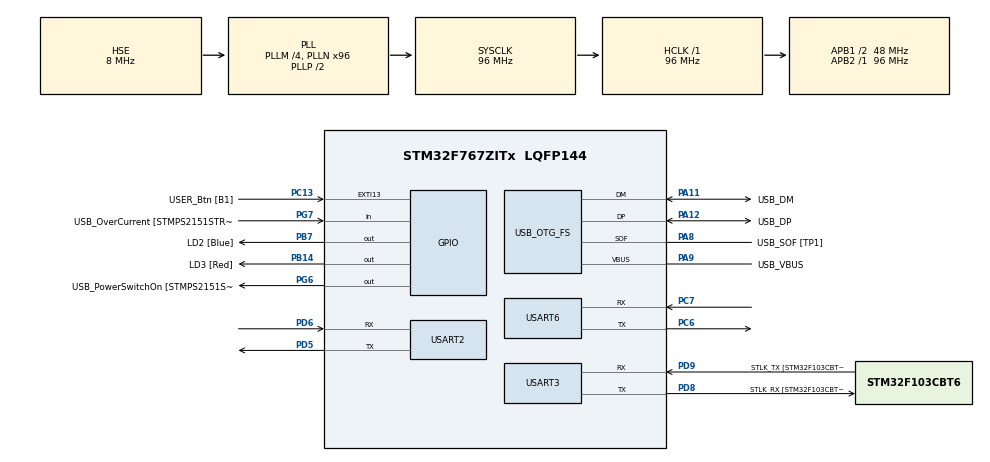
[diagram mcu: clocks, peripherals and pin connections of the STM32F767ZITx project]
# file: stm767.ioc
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FREERTOS.Tasks01=defaultTask,0,128,StartDefaultTask,Default,NULL
FREERTOS.configTOTAL_HEAP_SIZE=30720
Mcu.Family=STM32F7
Mcu.Name=STM32F767ZITx
Mcu.Package=LQFP144
NVIC.PriorityGroup=NVIC_PRIORITYGROUP_4
NVIC.TIM1_UP_TIM10_IRQn=true\:0\:0\:false\:false\:true\:false\:false\:true
NVIC.TimeBase=TIM1_UP_TIM10_IRQn
NVIC.TimeBaseIP=TIM1
NVIC.USART2_IRQn=true\:5\:0\:false\:false\:true\:true\:true\:true
NVIC.USART6_IRQn=true\:5\:0\:false\:false\:true\:true\:true\:true
PA1.GPIO_Label=RMII_REF_CLK [LAN8742A-CZ-TR_REFCLK0]
PA1.Signal=ETH_REF_CLK
PA10.GPIO_Label=USB_ID
PA10.Signal=USB_OTG_FS_ID
PA11.GPIO_Label=USB_DM
PA11.Mode=Device_Only
PA11.Signal=USB_OTG_FS_DM
PA12.GPIO_Label=USB_DP
PA12.Mode=Device_Only
PA12.Signal=USB_OTG_FS_DP
PA13.GPIO_Label=TMS
PA13.Mode=Serial_Wire
PA13.Signal=SYS_JTMS-SWDIO
PA14.GPIO_Label=TCK
PA14.Mode=Serial_Wire
PA14.Signal=SYS_JTCK-SWCLK
PA2.GPIO_Label=RMII_MDIO [LAN8742A-CZ-TR_MDIO]
PA2.Signal=ETH_MDIO
PA7.GPIO_Label=RMII_CRS_DV [LAN8742A-CZ-TR_CRS_DV]
PA7.Signal=ETH_CRS_DV
PA8.GPIO_Label=USB_SOF [TP1]
PA8.Mode=Activate_SOF_FS
PA8.Signal=USB_OTG_FS_SOF
PA9.GPIO_Label=USB_VBUS
PA9.Mode=Activate_VBUS
PA9.Signal=USB_OTG_FS_VBUS
PB13.GPIO_Label=RMII_TXD1 [LAN8742A-CZ-TR_TXD1]
PB13.Signal=ETH_TXD1
PB14.GPIO_Label=LD3 [Red]
PB14.Signal=GPIO_Output
PB3.GPIO_Label=SWO
PB3.Signal=SYS_JTDO-SWO
PB7.GPIO_Label=LD2 [Blue]
PB7.Signal=GPIO_Output
PC1.GPIO_Label=RMII_MDC [LAN8742A-CZ-TR_MDC]
PC1.Signal=ETH_MDC
PC13.GPIO_Label=USER_Btn [B1]
PC13.Signal=GPXTI13
PC14/OSC32_IN.Signal=RCC_OSC32_IN
PC15/OSC32_OUT.Signal=RCC_OSC32_OUT
PC4.GPIO_Label=RMII_RXD0 [LAN8742A-CZ-TR_RXD0]
PC4.Signal=ETH_RXD0
PC5.GPIO_Label=RMII_RXD1 [LAN8742A-CZ-TR_RXD1]
PC5.Signal=ETH_RXD1
PC6.Mode=Asynchronous
PC6.Signal=USART6_TX
PC7.Mode=Asynchronous
PC7.Signal=USART6_RX
PD5.Mode=Asynchronous
PD5.Signal=USART2_TX
PD6.Mode=Asynchronous
PD6.Signal=USART2_RX
PD8.GPIO_Label=STLK_RX [STM32F103CBT6_PA3]
PD8.Mode=Asynchronous
PD8.Signal=USART3_TX
PD9.GPIO_Label=STLK_TX [STM32F103CBT6_PA2]
PD9.Mode=Asynchronous
PD9.Signal=USART3_RX
PG11.GPIO_Label=RMII_TX_EN [LAN8742A-CZ-TR_TXEN]
PG11.Signal=ETH_TX_EN
PG13.GPIO_Label=RMII_TXD0 [LAN8742A-CZ-TR_TXD0]
PG13.Signal=ETH_TXD0
PG6.GPIO_Label=USB_PowerSwitchOn [STMPS2151STR_EN]
PG6.Signal=GPIO_Output
PG7.GPIO_Label=USB_OverCurrent [STMPS2151STR_FAULT]
PG7.Signal=GPIO_Input
PH0/OSC_IN.GPIO_Label=MCO [STM32F103CBT6_PA8]
PH0/OSC_IN.Mode=HSE-External-Oscillator
PH0/OSC_IN.Signal=RCC_OSC_IN
PH1/OSC_OUT.Mode=HSE-External-Oscillator
PH1/OSC_OUT.Signal=RCC_OSC_OUT
ProjectManager.HeapSize=0x200
ProjectManager.StackSize=0x400
ProjectManager.TargetToolchain=EWARM V8
RCC.48MHZClocksFreq_Value=24000000
RCC.AHBFreq_Value=96000000
RCC.APB1CLKDivider=RCC_HCLK_DIV2
RCC.APB1Freq_Value=48000000
RCC.APB1TimFreq_Value=96000000
RCC.APB2Freq_Value=96000000
RCC.APB2TimFreq_Value=96000000
RCC.CortexFreq_Value=96000000
RCC.HCLKFreq_Value=96000000
RCC.HSE_VALUE=8000000
RCC.HSI_VALUE=16000000
RCC.LSE_VALUE=32768
RCC.PLLM=4
RCC.PLLMUL=RCC_PLL_MUL9
RCC.PLLN=96
RCC.PLLQ=4
RCC.PRESCALERUSB=RCC_USBCLKSOURCE_PLL_DIV1_5
RCC.SYSCLKFreq_VALUE=96000000
RCC.SYSCLKSource=RCC_SYSCLKSOURCE_PLLCLK
RCC.SYSCLKSourceVirtual=RCC_SYSCLKSOURCE_PLLCLK
RCC.USBFreq_Value=48000000
RCC.VCOOutputFreq_Value=192000000
USART2.OverSampling=UART_OVERSAMPLING_16
USART2.VirtualMode-Asynchronous=VM_ASYNC
USART3.VirtualMode-Asynchronous=VM_ASYNC
USART6.VirtualMode-Asynchronous=VM_ASYNC
USB_OTG_FS.VirtualMode=Device_Only
VP_FREERTOS_VS_CMSIS_V1.Mode=CMSIS_V1
VP_SYS_VS_tim1.Mode=TIM1
board=NUCLEO-F767ZI

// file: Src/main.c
/* USER CODE BEGIN Header */
/**
  ******************************************************************************
  * @file           : main.c
  * @brief          : Main program body
  ******************************************************************************
  * @attention
  *
  * <h2><center>&copy; Copyright (c) 2019 STMicroelectronics.
  * All rights reserved.</center></h2>
  *
  * This software component is licensed by ST under Ultimate Liberty license
  * SLA0044, the "License"; You may not use this file except in compliance with
  * the License. You may obtain a copy of the License at:
  *                             www.st.com/SLA0044
  *
  ******************************************************************************
  */
/* USER CODE END Header */

#include "main.h"
#include "cmsis_os.h"

#include "uiot_export.h"
#include "uiot_import.h"
#include "uiot_export_dm.h"
#include "shadow_client.h"
#include "uiot_export_shadow.h"
#include "uiot_export_ota.h"

UART_HandleTypeDef huart2;
UART_HandleTypeDef huart3;
UART_HandleTypeDef huart6;

PCD_HandleTypeDef hpcd_USB_OTG_FS;

osThreadId defaultTaskHandle;

void SystemClock_Config(void);
static void MX_GPIO_Init(void);
static void MX_USART3_UART_Init(void);
static void MX_USB_OTG_FS_PCD_Init(void);
static void MX_USART2_UART_Init(void);
static void MX_USART6_UART_Init(void);
void StartDefaultTask(void const * argument);

#ifdef __GNUC__
/* With GCC/RAISONANCE, small printf (option LD Linker->Libraries->Small printf
   set to 'Yes') calls __io_putchar() */
#define PUTCHAR_PROTOTYPE int __io_putchar(int ch)
#else
#define PUTCHAR_PROTOTYPE int fputc(int ch, FILE *f)
#endif /* __GNUC__ */

/* USER CODE BEGIN PFP */
#define UIOT_MY_PRODUCT_SN            "iwfrdgwhmwscqbmv"

#define UIOT_MY_DEVICE_SN             "mosjgqhqqx1aut0a"

#define UIOT_MY_DEVICE_SECRET         "zn9srzorb96kwat7"

#define OTA_BUF_LEN (1024)

/* USER CODE END PFP */

/* USER CODE BEGIN 0 */
static void event_handler(void *pClient, void *handle_context, MQTTEventMsg *msg)
{
    uintptr_t packet_id = 0;
    packet_id = (uintptr_t)msg->msg;

	switch(msg->event_type) {
		case MQTT_EVENT_UNDEF:
			LOG_INFO("undefined event occur.\n");
			break;

		case MQTT_EVENT_DISCONNECT:
			LOG_INFO("MQTT disconnect.\n");
			break;

		case MQTT_EVENT_RECONNECT:
			LOG_INFO("MQTT reconnect.\n");
			break;

		case MQTT_EVENT_SUBSCRIBE_SUCCESS:
			LOG_INFO("subscribe success, packet-id=%u.\n", (unsigned int)packet_id);
			break;

		case MQTT_EVENT_SUBSCRIBE_TIMEOUT:
			LOG_INFO("subscribe wait ack timeout, packet-id=%u.\n", (unsigned int)packet_id);
			break;

		case MQTT_EVENT_SUBSCRIBE_NACK:
			LOG_INFO("subscribe nack, packet-id=%u.\n", (unsigned int)packet_id);
			break;

		case MQTT_EVENT_PUBLISH_SUCCESS:
			LOG_INFO("publish success, packet-id=%u.\n", (unsigned int)packet_id);
			break;

		case MQTT_EVENT_PUBLISH_TIMEOUT:
			LOG_INFO("publish timeout, packet-id=%u.\n", (unsigned int)packet_id);
			break;

		case MQTT_EVENT_PUBLISH_NACK:
			LOG_INFO("publish nack, packet-id=%u.\n", (unsigned int)packet_id);
			break;

		default:
			LOG_INFO("Should NOT arrive here.\n");
			break;
	}
}

int event_post_cb(const char *request_id, const int ret_code){
    LOG_INFO("event_post_cb; request_id: %s; ret_code: %d", request_id, ret_code);
    return SUCCESS_RET;
}

int property_post_cb(const char *request_id, const int ret_code){
    LOG_INFO("property_post_cb; request_id: %s; ret_code: %d", request_id, ret_code);
    return SUCCESS_RET;
}

int command_cb(const char *request_id, const char *identifier, const char *input, char **output){
    LOG_INFO("command_cb; request_id: %s; identifier: %s; input: %s", request_id, identifier, input);
    *output = (char *)HAL_Malloc(100);
    HAL_Snprintf(*output, 1000, "{\"result\":%d}", 1);
    return SUCCESS_RET;
}

int property_set_cb(const char *request_id, const char *property){
    LOG_INFO("property_set_cb; request_id: %s; property: %s", request_id, property);
    return SUCCESS_RET;
}

static int _setup_connect_init_params(MQTTInitParams* initParams)
{
	initParams->device_sn = UIOT_MY_DEVICE_SN;
	initParams->product_sn = UIOT_MY_PRODUCT_SN;
	initParams->device_secret = UIOT_MY_DEVICE_SECRET;
	initParams->command_timeout = UIOT_MQTT_COMMAND_TIMEOUT;
	initParams->keep_alive_interval = UIOT_MQTT_KEEP_ALIVE_INTERNAL;
	initParams->auto_connect_enable = 1;
    initParams->event_handler.h_fp = event_handler;

    return SUCCESS_RET;
}

static void on_message_callback(void *pClient, MQTTMessage *message, void *userData) {
	if (message == NULL) {
		return;
	}

	printf("Receive Message With topicName:%.*s, payload:%.*s\n",
		  (int) message->topic_len, message->topic, (int) message->payload_len, (char *) message->payload);
}

#define MAX_SIZE_OF_TOPIC_CONTENT     100
static int sg_count = 0;

static int _publish_msg(void *client)
{
    char topicName[128] = {0};
    HAL_Snprintf(topicName, 128, "/%s/%s/%s", UIOT_MY_PRODUCT_SN, UIOT_MY_DEVICE_SN, "set");

    PublishParams pub_params = DEFAULT_PUB_PARAMS;
    pub_params.qos = QOS1;

    char topic_content[MAX_SIZE_OF_TOPIC_CONTENT + 1] = {0};

	int size = HAL_Snprintf(topic_content, sizeof(topic_content), "{\"test\": \"%d\"}", sg_count++);
	if (size < 0 || size > sizeof(topic_content) - 1)
	{
		printf("payload content length not enough! content size:%d  buf size:%d", size, (int)sizeof(topic_content));
		return -3;
	}

	pub_params.payload = topic_content;
	pub_params.payload_len = strlen(topic_content);

    return IOT_MQTT_Publish(client, topicName, &pub_params);
}

static int _register_subscribe_topics(void *client)
{
    static char topic_name[128] = {0};
    int size = HAL_Snprintf(topic_name, sizeof(topic_name), "/%s/%s/%s", UIOT_MY_PRODUCT_SN, UIOT_MY_DEVICE_SN, "set");
    if (size < 0 || size > sizeof(topic_name) - 1)
    {
        printf("topic content length not enough! content size:%d  buf size:%d", size, (int)sizeof(topic_name));
        return FAILURE_RET;
    }
    SubscribeParams sub_params = DEFAULT_SUB_PARAMS;
    sub_params.on_message_handler = on_message_callback;
    return IOT_MQTT_Subscribe(client, topic_name, &sub_params);
}

//当设备直接按照desired字段中的属性值更新时不需要上报
void RegCallback_update(void *pClient, RequestParams *pParams, char *pJsonValueBuffer, uint32_t valueLength, DeviceProperty *pProperty)
{
    LOG_DEBUG("key:%s val:%s\n",pProperty->key, pJsonValueBuffer);
    IOT_Shadow_Direct_Update_Value(pJsonValueBuffer, pProperty);
    return;
}

//当设备没有完全按照desired字段中的属性更新时,需要将当前真实值上报
void RegCallback_hold(void *pClient, RequestParams *pParams, char *pJsonValueBuffer, uint32_t valueLength, DeviceProperty *pProperty)
{
    LOG_DEBUG("key:%s val:%s\n",pProperty->key, pJsonValueBuffer);
    int num = 10;
    pProperty->data = &num;
    IOT_Shadow_Request_Add_Delta_Property(pClient, pParams,pProperty);
    return;
}

static void _update_ack_cb(void *pClient, Method method, RequestAck requestAck, const char *pReceivedJsonDocument, void *pUserdata)
{
	LOG_DEBUG("requestAck=%d\n", requestAck);

    if (NULL != pReceivedJsonDocument) {
        LOG_DEBUG("Received Json Document=%s\n", pReceivedJsonDocument);
    } else {
        LOG_DEBUG("Received Json Document is NULL\n");
    }

    *((RequestAck *)pUserdata) = requestAck;
    return;
}

extern sRingbuff g_ring_tcp_buff[3];
extern int last_tcp_link;

/* USER CODE END PFP */
/* Private user code ---------------------------------------------------------*/
/* USER CODE BEGIN 0 */
void esp8266_test(void *pvParameters)
{
    int ret;
    int ota_over = 0;
    bool upgrade_fetch_success = true;
    char msg_version[33];
    char buf_ota[OTA_BUF_LEN];

    MQTTInitParams init_params = DEFAULT_MQTT_INIT_PARAMS;
    ret = _setup_connect_init_params(&init_params);
	if (ret != SUCCESS_RET) {
	}

    void *client = IOT_MQTT_Construct(&init_params);
    if (client != NULL) {
        printf("Cloud Device Construct Success");
    } else {
        printf("Cloud Device Construct Failed");
    }
    IOT_MQTT_Yield(client, 50);

    _register_subscribe_topics(client);

	IOT_MQTT_Yield(client, 200);

    void *h_dm = IOT_DM_Init(UIOT_MY_PRODUCT_SN, UIOT_MY_DEVICE_SN, client);
    if (NULL == h_dm) {
        printf("initialize device model failed");
    }
    IOT_DM_Yield(h_dm, 50);

    IOT_DM_RegisterCallback(EVENT_POST, h_dm, event_post_cb);
    IOT_DM_Yield(h_dm, 100);
    IOT_DM_RegisterCallback(COMMAND , h_dm, command_cb);
    IOT_DM_Yield(h_dm, 100);
    IOT_DM_RegisterCallback(PROPERTY_POST , h_dm, property_post_cb);
    IOT_DM_Yield(h_dm, 100);
    IOT_DM_RegisterCallback(PROPERTY_SET , h_dm, property_set_cb);
    IOT_DM_Yield(h_dm, 100);

    void *shadow_client = IOT_Shadow_Construct(UIOT_MY_PRODUCT_SN, UIOT_MY_DEVICE_SN, client);
    if(shadow_client == NULL)
    {
        HAL_Printf("IOT_Shadow_Construct fail\n");
    }

    UIoT_Shadow *sg_pshadow = (UIoT_Shadow *)shadow_client;
    bool isConnected = IOT_MQTT_IsConnected(sg_pshadow->mqtt);
    if(isConnected != true)
    {
        HAL_Printf("IOT_MQTT_IsConnected fail\n");
    }

    int time_sec = MAX_WAIT_TIME_SEC;
	RequestAck ack_update = ACK_NONE;

    DeviceProperty *Property1 = (DeviceProperty *)HAL_Malloc(sizeof(DeviceProperty));
    int32_t num1 = 18;
    char str1[6] = "data1";
    Property1->key= str1;
    Property1->data = &num1;
    Property1->type = JINT32;
    ret = IOT_Shadow_Register_Property(sg_pshadow, Property1, RegCallback_hold);
    if(SUCCESS_RET != ret)
    {
        HAL_Printf("Register Property1 fail:%d\n", ret);
    }

    DeviceProperty *Property2 = (DeviceProperty *)HAL_Malloc(sizeof(DeviceProperty));
    float num2 = 20.2;
    char str2[6] = "data2";
    Property2->key= str2;
    Property2->data = &num2;
    Property2->type = JFLOAT;
    ret = IOT_Shadow_Register_Property(sg_pshadow, Property2, RegCallback_update);
    if(SUCCESS_RET != ret)
    {
        HAL_Printf("Register Property2 fail:%d\n", ret);
    }

    DeviceProperty *Property3 = (DeviceProperty *)HAL_Malloc(sizeof(DeviceProperty));
    double num3 = 22.9;
    char str3[6] = "data3";
    Property3->key= str3;
    Property3->data = &num3;
    Property3->type = JDOUBLE;
    ret = IOT_Shadow_Register_Property(sg_pshadow, Property3, RegCallback_update);
    if(SUCCESS_RET != ret)
    {
        HAL_Printf("Register Property3 fail:%d\n", ret);
    }

    DeviceProperty *Property4 = (DeviceProperty *)HAL_Malloc(sizeof(DeviceProperty));
    char num4[5] = "num4";
    char str4[6] = "data4";
    Property4->key= str4;
    Property4->data = num4;
    Property4->type = JSTRING;
    ret = IOT_Shadow_Register_Property(sg_pshadow, Property4, RegCallback_update);
    if(SUCCESS_RET != ret)
    {
        HAL_Printf("Register Property4 fail:%d\n", ret);
    }

    DeviceProperty *Property5 = (DeviceProperty *)HAL_Malloc(sizeof(DeviceProperty));
    bool num5 = false;
    char str5[6] = "data5";
    Property5->key= str5;
    Property5->data = &num5;
    Property5->type = JBOOL;
    ret = IOT_Shadow_Register_Property(sg_pshadow, Property5, RegCallback_update);
    if(SUCCESS_RET != ret)
    {
        HAL_Printf("Register Property5 fail:%d\n", ret);
    }

    DeviceProperty *Property6 = (DeviceProperty *)HAL_Malloc(sizeof(DeviceProperty));
    char num6[20] = "{\"temp\":25}";
    char str6[6] = "data6";
    Property6->key= str6;
    Property6->data = num6;
    Property6->type = JOBJECT;
    ret = IOT_Shadow_Register_Property(sg_pshadow, Property6, RegCallback_update);
    if(SUCCESS_RET != ret)
    {
        HAL_Printf("Register Property6 fail:%d\n", ret);
    }

    int i = 0;
    while(1)
    {
/* mqtt */
        _publish_msg(client);
        IOT_MQTT_Yield(client, 2000);
/* dev model */
        IOT_DM_Property_Report(h_dm, PROPERTY_POST, i * 2, "{\"volume\": {\"Value\":50}}");
        IOT_DM_Yield(h_dm, 2000);
        IOT_DM_TriggerEvent(h_dm, i * 2 + 1, "low_power_alert", "{\"power\": 5}");

        IOT_DM_Yield(h_dm, 2000);
        i++;

/* shadow */
        ret = IOT_Shadow_Get_Sync(sg_pshadow, _update_ack_cb, time_sec, &ack_update);
        if(SUCCESS_RET != ret)
        {
            HAL_Printf("Get Sync fail:%d\n", ret);
        }

    	while (ACK_NONE == ack_update) {
            IOT_Shadow_Yield(sg_pshadow, MAX_WAIT_TIME_MS);
        }

        /* update */
        ack_update = ACK_NONE;
        ret = IOT_Shadow_Update(sg_pshadow, _update_ack_cb, time_sec, &ack_update, 6, Property1, Property2, Property3, Property4, Property5, Property6);
        if(SUCCESS_RET != ret)
        {
            HAL_Printf("Update Property1 Property2 Property3 Property4 Property5 Property6 fail:%d\n", ret);
        }

    	while (ACK_NONE == ack_update) {
            IOT_Shadow_Yield(sg_pshadow, MAX_WAIT_TIME_MS);
        }

        ack_update = ACK_NONE;
        ret = IOT_Shadow_Get_Sync(sg_pshadow, _update_ack_cb, time_sec, &ack_update);

    	while (ACK_NONE == ack_update) {
            IOT_Shadow_Yield(sg_pshadow, MAX_WAIT_TIME_MS);
        }

        /* update */
        num1 = 123;
        Property1->data = &num1;

        char num9[5] = "num9";
        Property4->data = num9;

        ack_update = ACK_NONE;
        ret = IOT_Shadow_Update(sg_pshadow, _update_ack_cb, time_sec, &ack_update, 2, Property1, Property4);
        if(SUCCESS_RET != ret)
        {
            HAL_Printf("Update Property1 Property4 fail:%d\n", ret);
        }

    	while (ACK_NONE == ack_update) {
            IOT_Shadow_Yield(sg_pshadow, MAX_WAIT_TIME_MS);
        }

        /* delete */
        ack_update = ACK_NONE;
        ret = IOT_Shadow_Delete(sg_pshadow, _update_ack_cb, time_sec, &ack_update, 2, Property1, Property2);
        if(SUCCESS_RET != ret)
        {
            HAL_Printf("Delete Property1 Property2 fail:%d\n", ret);
        }

    	while (ACK_NONE == ack_update) {
            IOT_Shadow_Yield(sg_pshadow, MAX_WAIT_TIME_MS);
        }

        ack_update = ACK_NONE;
        ret = IOT_Shadow_Get_Sync(sg_pshadow, _update_ack_cb, time_sec, &ack_update);

    	while (ACK_NONE == ack_update) {
            IOT_Shadow_Yield(sg_pshadow, MAX_WAIT_TIME_MS);
        }

        /* delete all */
        ack_update = ACK_NONE;
        ret = IOT_Shadow_Delete_All(sg_pshadow, _update_ack_cb, time_sec, &ack_update);
        if(SUCCESS_RET != ret)
        {
            HAL_Printf("Delete All fail:%d\n", ret);
        }

    	while (ACK_NONE == ack_update) {
            IOT_Shadow_Yield(sg_pshadow, MAX_WAIT_TIME_MS);
        }

        ack_update = ACK_NONE;
        ret = IOT_Shadow_Get_Sync(sg_pshadow, _update_ack_cb, time_sec, &ack_update);

    	while (ACK_NONE == ack_update) {
            IOT_Shadow_Yield(sg_pshadow, MAX_WAIT_TIME_MS);
        }

        Property1->data = &num1;
        Property4->data = num4;
        Property5->data = &num5;
        Property6->data = num6;

        /* update */
        ack_update = ACK_NONE;
        ret = IOT_Shadow_Update_And_Reset_Version(sg_pshadow, _update_ack_cb, time_sec, &ack_update, 4, Property1, Property4, Property5, Property6);
        if(SUCCESS_RET != ret)
        {
            HAL_Printf("Update and Reset Ver fail:%d\n", ret);
        }

    	while (ACK_NONE == ack_update) {
            IOT_Shadow_Yield(sg_pshadow, MAX_WAIT_TIME_MS);
        }

        ack_update = ACK_NONE;
        ret = IOT_Shadow_Get_Sync(sg_pshadow, _update_ack_cb, time_sec, &ack_update);

    	while (ACK_NONE == ack_update) {
            IOT_Shadow_Yield(sg_pshadow, MAX_WAIT_TIME_MS);
        }

/* OTA */
        void *h_ota = IOT_OTA_Init(UIOT_MY_PRODUCT_SN, UIOT_MY_DEVICE_SN, client);
        if (NULL == h_ota) {
          LOG_ERROR("init OTA failed");
        }

        IOT_MQTT_Yield(client, 200);

         /* Must report version first */
         if (IOT_OTA_ReportVersion(h_ota, "1.0.0") < 0) {
             LOG_ERROR("report OTA version failed");
         }

         IOT_MQTT_Yield(client, 200);

         if (IOT_OTA_RequestFirmware(h_ota, "1.0.0") < 0) {
             LOG_ERROR("Request firmware failed");
         }

         IOT_MQTT_Yield(client, 2000);

    do {
            uint32_t firmware_valid;

            //if(SUCCESS_RET == ring_buff_is_empty(&(g_ring_tcp_buff[last_tcp_link])))
            //{
            //    IOT_MQTT_Yield(client, 100);
            //    continue;
            //}

            if (IOT_OTA_IsFetching(h_ota)) {
                char version[33], md5sum[33];
                uint32_t size_downloaded, size_file;
                do {
                    int len = IOT_OTA_FetchYield(h_ota, buf_ota, OTA_BUF_LEN, 1);
                    if (len > 0) {
                        printf("fetch successful\n");
                    } else if (len < 0) {
                        LOG_ERROR("download fail rc=%d", len);
                        upgrade_fetch_success = false;
                        break;
                    }

                    /* get OTA information */
                    IOT_OTA_Ioctl(h_ota, OTA_IOCTL_FETCHED_SIZE, &size_downloaded, 4);
                    IOT_OTA_Ioctl(h_ota, OTA_IOCTL_FILE_SIZE, &size_file, 4);
                    IOT_OTA_Ioctl(h_ota, OTA_IOCTL_MD5SUM, md5sum, 33);
                    IOT_OTA_Ioctl(h_ota, OTA_IOCTL_VERSION, version, 33);
                    IOT_OTA_Ioctl(h_ota, OTA_IOCTL_VERSION, msg_version, 33);

                    HAL_SleepMs(100);
                } while (!IOT_OTA_IsFetchFinish(h_ota));

                /* Must check MD5 match or not */
                if (upgrade_fetch_success) {
                    IOT_OTA_Ioctl(h_ota, OTA_IOCTL_CHECK_FIRMWARE, &firmware_valid, 4);
                    if (0 == firmware_valid) {
                        LOG_ERROR("The firmware is invalid");
                        upgrade_fetch_success = false;
                    } else {
                        LOG_INFO("The firmware is valid");
                        upgrade_fetch_success = true;
                    }
                }
                ota_over = 1;
            }

        } while(!ota_over);

        if (upgrade_fetch_success)
        {
            HAL_SleepMs(1000);
            IOT_OTA_ReportSuccess(h_ota, msg_version);
            IOT_OTA_Destroy(h_ota);
        }

    }

}

/* USER CODE END 0 */

int main(void)
{

  /* MCU Configuration--------------------------------------------------------*/

  /* Reset of all peripherals, Initializes the Flash interface and the Systick. */
  HAL_Init();

  /* Configure the system clock */
  SystemClock_Config();

  /* Initialize all configured peripherals */
  MX_GPIO_Init();
  MX_USART3_UART_Init();
  MX_USB_OTG_FS_PCD_Init();
  MX_USART2_UART_Init();
  MX_USART6_UART_Init();

  /* Create the thread(s) */
  /* definition and creation of defaultTask */
  osThreadDef(defaultTask, StartDefaultTask, osPriorityNormal, 0, 128);
  defaultTaskHandle = osThreadCreate(osThread(defaultTask), NULL);

  /* USER CODE BEGIN RTOS_THREADS */
  xTaskCreate(esp8266_test, "esp8266_test", 2000, NULL, 1, NULL);
  /* USER CODE END RTOS_THREADS */

  /* Start scheduler */
  osKernelStart();

  /* We should never get here as control is now taken by the scheduler */

  /* Infinite loop */
  while (1)
  {

  }
}

/**
  * @brief  Retargets the C library printf function to the USART.
  * @param  None
  * @retval None
  */
PUTCHAR_PROTOTYPE
{
  /* Place your implementation of fputc here */
  /* e.g. write a character to the USART3 and Loop until the end of transmission */
  HAL_UART_Transmit(&huart6, (uint8_t *)&ch, 1, 0xFFFF);

  return ch;
}

void SystemClock_Config(void)
{
  RCC_OscInitTypeDef RCC_OscInitStruct = {0};
  RCC_ClkInitTypeDef RCC_ClkInitStruct = {0};
  RCC_PeriphCLKInitTypeDef PeriphClkInitStruct = {0};

  /** Configure the main internal regulator output voltage
  */
  __HAL_RCC_PWR_CLK_ENABLE();
  __HAL_PWR_VOLTAGESCALING_CONFIG(PWR_REGULATOR_VOLTAGE_SCALE3);
  /** Initializes the CPU, AHB and APB busses clocks
  */
  RCC_OscInitStruct.OscillatorType = RCC_OSCILLATORTYPE_HSE;
  RCC_OscInitStruct.HSEState = RCC_HSE_ON;
  RCC_OscInitStruct.PLL.PLLState = RCC_PLL_ON;
  RCC_OscInitStruct.PLL.PLLSource = RCC_PLLSOURCE_HSE;
  RCC_OscInitStruct.PLL.PLLM = 4;
  RCC_OscInitStruct.PLL.PLLN = 96;
  RCC_OscInitStruct.PLL.PLLP = RCC_PLLP_DIV2;
  RCC_OscInitStruct.PLL.PLLQ = 4;
  if (HAL_RCC_OscConfig(&RCC_OscInitStruct) != HAL_OK)
  {
    Error_Handler();
  }
  /** Activate the Over-Drive mode
  */
  if (HAL_PWREx_EnableOverDrive() != HAL_OK)
  {
    Error_Handler();
  }
  /** Initializes the CPU, AHB and APB busses clocks
  */
  RCC_ClkInitStruct.ClockType = RCC_CLOCKTYPE_HCLK|RCC_CLOCKTYPE_SYSCLK
                              |RCC_CLOCKTYPE_PCLK1|RCC_CLOCKTYPE_PCLK2;
  RCC_ClkInitStruct.SYSCLKSource = RCC_SYSCLKSOURCE_PLLCLK;
  RCC_ClkInitStruct.AHBCLKDivider = RCC_SYSCLK_DIV1;
  RCC_ClkInitStruct.APB1CLKDivider = RCC_HCLK_DIV2;
  RCC_ClkInitStruct.APB2CLKDivider = RCC_HCLK_DIV1;

  if (HAL_RCC_ClockConfig(&RCC_ClkInitStruct, FLASH_LATENCY_3) != HAL_OK)
  {
    Error_Handler();
  }
  PeriphClkInitStruct.PeriphClockSelection = RCC_PERIPHCLK_USART2|RCC_PERIPHCLK_USART3
                              |RCC_PERIPHCLK_USART6|RCC_PERIPHCLK_CLK48;
  PeriphClkInitStruct.Usart2ClockSelection = RCC_USART2CLKSOURCE_PCLK1;
  PeriphClkInitStruct.Usart3ClockSelection = RCC_USART3CLKSOURCE_PCLK1;
  PeriphClkInitStruct.Usart6ClockSelection = RCC_USART6CLKSOURCE_PCLK2;
  PeriphClkInitStruct.Clk48ClockSelection = RCC_CLK48SOURCE_PLL;
  if (HAL_RCCEx_PeriphCLKConfig(&PeriphClkInitStruct) != HAL_OK)
  {
    Error_Handler();
  }
}

static void MX_USART2_UART_Init(void)
{

  huart2.Instance = USART2;
  huart2.Init.BaudRate = 115200;
  huart2.Init.WordLength = UART_WORDLENGTH_8B;
  huart2.Init.StopBits = UART_STOPBITS_1;
  huart2.Init.Parity = UART_PARITY_NONE;
  huart2.Init.Mode = UART_MODE_TX_RX;
  huart2.Init.HwFlowCtl = UART_HWCONTROL_NONE;
  huart2.Init.OverSampling = UART_OVERSAMPLING_16;
  huart2.Init.OneBitSampling = UART_ONE_BIT_SAMPLE_DISABLE;
  huart2.AdvancedInit.AdvFeatureInit = UART_ADVFEATURE_NO_INIT;
  if (HAL_UART_Init(&huart2) != HAL_OK)
  {
    Error_Handler();
  }

}

static void MX_USART3_UART_Init(void)
{

  huart3.Instance = USART3;
  huart3.Init.BaudRate = 115200;
  huart3.Init.WordLength = UART_WORDLENGTH_8B;
  huart3.Init.StopBits = UART_STOPBITS_1;
  huart3.Init.Parity = UART_PARITY_NONE;
  huart3.Init.Mode = UART_MODE_TX_RX;
  huart3.Init.HwFlowCtl = UART_HWCONTROL_NONE;
  huart3.Init.OverSampling = UART_OVERSAMPLING_16;
  huart3.Init.OneBitSampling = UART_ONE_BIT_SAMPLE_DISABLE;
  huart3.AdvancedInit.AdvFeatureInit = UART_ADVFEATURE_NO_INIT;
  if (HAL_UART_Init(&huart3) != HAL_OK)
  {
    Error_Handler();
  }

}

static void MX_USART6_UART_Init(void)
{

  huart6.Instance = USART6;
  huart6.Init.BaudRate = 115200;
  huart6.Init.WordLength = UART_WORDLENGTH_8B;
  huart6.Init.StopBits = UART_STOPBITS_1;
  huart6.Init.Parity = UART_PARITY_NONE;
  huart6.Init.Mode = UART_MODE_TX_RX;
  huart6.Init.HwFlowCtl = UART_HWCONTROL_NONE;
  huart6.Init.OverSampling = UART_OVERSAMPLING_16;
  huart6.Init.OneBitSampling = UART_ONE_BIT_SAMPLE_DISABLE;
  huart6.AdvancedInit.AdvFeatureInit = UART_ADVFEATURE_NO_INIT;
  if (HAL_UART_Init(&huart6) != HAL_OK)
  {
    Error_Handler();
  }

}

static void MX_USB_OTG_FS_PCD_Init(void)
{

  hpcd_USB_OTG_FS.Instance = USB_OTG_FS;
  hpcd_USB_OTG_FS.Init.dev_endpoints = 6;
  hpcd_USB_OTG_FS.Init.speed = PCD_SPEED_FULL;
  hpcd_USB_OTG_FS.Init.dma_enable = DISABLE;
  hpcd_USB_OTG_FS.Init.phy_itface = PCD_PHY_EMBEDDED;
  hpcd_USB_OTG_FS.Init.Sof_enable = ENABLE;
  hpcd_USB_OTG_FS.Init.low_power_enable = DISABLE;
  hpcd_USB_OTG_FS.Init.lpm_enable = DISABLE;
  hpcd_USB_OTG_FS.Init.vbus_sensing_enable = ENABLE;
  hpcd_USB_OTG_FS.Init.use_dedicated_ep1 = DISABLE;
  if (HAL_PCD_Init(&hpcd_USB_OTG_FS) != HAL_OK)
  {
    Error_Handler();
  }

}

static void MX_GPIO_Init(void)
{
  GPIO_InitTypeDef GPIO_InitStruct = {0};

  /* GPIO Ports Clock Enable */
  __HAL_RCC_GPIOC_CLK_ENABLE();
  __HAL_RCC_GPIOH_CLK_ENABLE();
  __HAL_RCC_GPIOA_CLK_ENABLE();
  __HAL_RCC_GPIOB_CLK_ENABLE();
  __HAL_RCC_GPIOD_CLK_ENABLE();
  __HAL_RCC_GPIOG_CLK_ENABLE();

  /*Configure GPIO pin Output Level */
  HAL_GPIO_WritePin(GPIOB, LD3_Pin|LD2_Pin, GPIO_PIN_RESET);

  /*Configure GPIO pin Output Level */
  HAL_GPIO_WritePin(USB_PowerSwitchOn_GPIO_Port, USB_PowerSwitchOn_Pin, GPIO_PIN_RESET);

  /*Configure GPIO pin : USER_Btn_Pin */
  GPIO_InitStruct.Pin = USER_Btn_Pin;
  GPIO_InitStruct.Mode = GPIO_MODE_IT_RISING;
  GPIO_InitStruct.Pull = GPIO_NOPULL;
  HAL_GPIO_Init(USER_Btn_GPIO_Port, &GPIO_InitStruct);

  /*Configure GPIO pins : RMII_MDC_Pin RMII_RXD0_Pin RMII_RXD1_Pin */
  GPIO_InitStruct.Pin = RMII_MDC_Pin|RMII_RXD0_Pin|RMII_RXD1_Pin;
  GPIO_InitStruct.Mode = GPIO_MODE_AF_PP;
  GPIO_InitStruct.Pull = GPIO_NOPULL;
  GPIO_InitStruct.Speed = GPIO_SPEED_FREQ_VERY_HIGH;
  GPIO_InitStruct.Alternate = GPIO_AF11_ETH;
  HAL_GPIO_Init(GPIOC, &GPIO_InitStruct);

  /*Configure GPIO pins : RMII_REF_CLK_Pin RMII_MDIO_Pin RMII_CRS_DV_Pin */
  GPIO_InitStruct.Pin = RMII_REF_CLK_Pin|RMII_MDIO_Pin|RMII_CRS_DV_Pin;
  GPIO_InitStruct.Mode = GPIO_MODE_AF_PP;
  GPIO_InitStruct.Pull = GPIO_NOPULL;
  GPIO_InitStruct.Speed = GPIO_SPEED_FREQ_VERY_HIGH;
  GPIO_InitStruct.Alternate = GPIO_AF11_ETH;
  HAL_GPIO_Init(GPIOA, &GPIO_InitStruct);

  /*Configure GPIO pin : RMII_TXD1_Pin */
  GPIO_InitStruct.Pin = RMII_TXD1_Pin;
  GPIO_InitStruct.Mode = GPIO_MODE_AF_PP;
  GPIO_InitStruct.Pull = GPIO_NOPULL;
  GPIO_InitStruct.Speed = GPIO_SPEED_FREQ_VERY_HIGH;
  GPIO_InitStruct.Alternate = GPIO_AF11_ETH;
  HAL_GPIO_Init(RMII_TXD1_GPIO_Port, &GPIO_InitStruct);

  /*Configure GPIO pins : LD3_Pin LD2_Pin */
  GPIO_InitStruct.Pin = LD3_Pin|LD2_Pin;
  GPIO_InitStruct.Mode = GPIO_MODE_OUTPUT_PP;
  GPIO_InitStruct.Pull = GPIO_NOPULL;
  GPIO_InitStruct.Speed = GPIO_SPEED_FREQ_LOW;
  HAL_GPIO_Init(GPIOB, &GPIO_InitStruct);

  /*Configure GPIO pin : USB_PowerSwitchOn_Pin */
  GPIO_InitStruct.Pin = USB_PowerSwitchOn_Pin;
  GPIO_InitStruct.Mode = GPIO_MODE_OUTPUT_PP;
  GPIO_InitStruct.Pull = GPIO_NOPULL;
  GPIO_InitStruct.Speed = GPIO_SPEED_FREQ_LOW;
  HAL_GPIO_Init(USB_PowerSwitchOn_GPIO_Port, &GPIO_InitStruct);

  /*Configure GPIO pin : USB_OverCurrent_Pin */
  GPIO_InitStruct.Pin = USB_OverCurrent_Pin;
  GPIO_InitStruct.Mode = GPIO_MODE_INPUT;
  GPIO_InitStruct.Pull = GPIO_NOPULL;
  HAL_GPIO_Init(USB_OverCurrent_GPIO_Port, &GPIO_InitStruct);

  /*Configure GPIO pins : RMII_TX_EN_Pin RMII_TXD0_Pin */
  GPIO_InitStruct.Pin = RMII_TX_EN_Pin|RMII_TXD0_Pin;
  GPIO_InitStruct.Mode = GPIO_MODE_AF_PP;
  GPIO_InitStruct.Pull = GPIO_NOPULL;
  GPIO_InitStruct.Speed = GPIO_SPEED_FREQ_VERY_HIGH;
  GPIO_InitStruct.Alternate = GPIO_AF11_ETH;
  HAL_GPIO_Init(GPIOG, &GPIO_InitStruct);

}

void StartDefaultTask(void const * argument)
{

  /* USER CODE BEGIN 5 */
  /* Infinite loop */
  for(;;)
  {
    osDelay(1000);
  }
  /* USER CODE END 5 */
}

void HAL_TIM_PeriodElapsedCallback(TIM_HandleTypeDef *htim)
{
  if (htim->Instance == TIM1) {
    HAL_IncTick();
  }
}

void Error_Handler(void)
{
}

/************************ (C) COPYRIGHT STMicroelectronics *****END OF FILE****/
